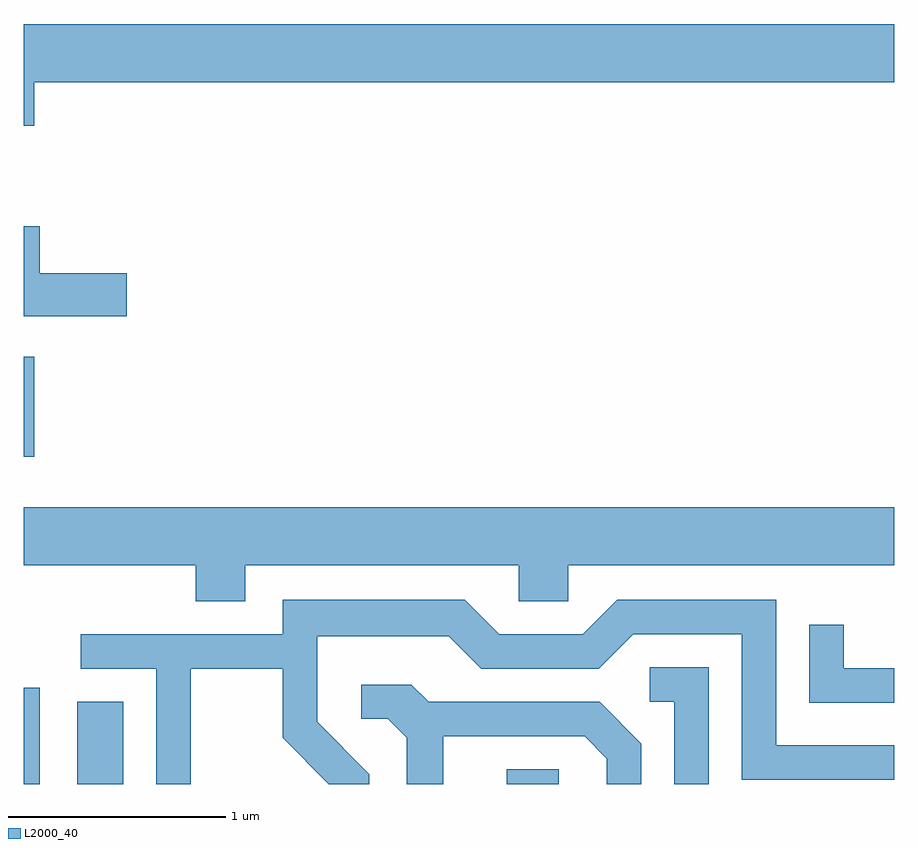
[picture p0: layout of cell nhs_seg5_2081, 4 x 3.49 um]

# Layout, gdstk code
import gdstk
lib = gdstk.Library(unit=1e-6, precision=1e-09)
def R(c, l, rs):  # rectangles x0, y0, x1, y1
    for r in rs: c.add(gdstk.rectangle(r[:2], r[2:], *l))
def P(c, l, *ps):  # polygons
    for p in ps: c.add(gdstk.Polygon(p, *l))
L2000_40 = (2000, 40)

nhs_seg5_2081 = lib.new_cell('nhs_seg5_2081')
R(nhs_seg5_2081, L2000_40, [(247.611,1398.072,247.684,1398.514), (247.856,1398.072,248.069,1398.449), (249.831,1398.072,250.069,1398.139), (247.611,1399.576,247.659,1400.034)])
P(nhs_seg5_2081, L2000_40, [(247.659,1401.296),(251.611,1401.296),(251.611,1401.564),(247.611,1401.564),(247.611,1401.096),(247.659,1401.096)],
  [(248.084,1400.419),(247.684,1400.419),(247.684,1400.634),(247.611,1400.634),(247.611,1400.221),(248.084,1400.221)],
  [(248.629,1399.076),(249.886,1399.076),(249.886,1398.911),(250.114,1398.911),(250.114,1399.076),(251.611,1399.076),(251.611,1399.344),(247.611,1399.344),(247.611,1399.076),(248.401,1399.076),(248.401,1398.911),(248.629,1398.911)],
  [(248.379,1398.601),(248.801,1398.601),(248.801,1398.284),(249.013,1398.072),(249.199,1398.072),(249.199,1398.117),(248.959,1398.357),(248.959,1398.751),(249.564,1398.751),(249.714,1398.601),(250.252,1398.601),(250.412,1398.761),(250.911,1398.761),(250.911,1398.091),(251.611,1398.091),(251.611,1398.249),(251.069,1398.249),(251.069,1398.919),(250.339,1398.919),(250.179,1398.759),(249.797,1398.759),(249.637,1398.919),(248.801,1398.919),(248.801,1398.759),(247.873,1398.759),(247.873,1398.601),(248.221,1398.601),(248.221,1398.072),(248.379,1398.072)],
  [(251.611,1398.604),(251.379,1398.604),(251.379,1398.803),(251.221,1398.803),(251.221,1398.446),(251.611,1398.446)],
  [(250.759,1398.609),(250.488,1398.609),(250.488,1398.451),(250.601,1398.451),(250.601,1398.072),(250.759,1398.072)],
  [(249.539,1398.291),(250.189,1398.291),(250.291,1398.189),(250.291,1398.072),(250.449,1398.072),(250.449,1398.257),(250.257,1398.449),(249.472,1398.449),(249.392,1398.529),(249.163,1398.529),(249.163,1398.371),(249.284,1398.371),(249.371,1398.284),(249.371,1398.072),(249.539,1398.072)])

lib.write_gds('nhs_seg5_2081.gds')
